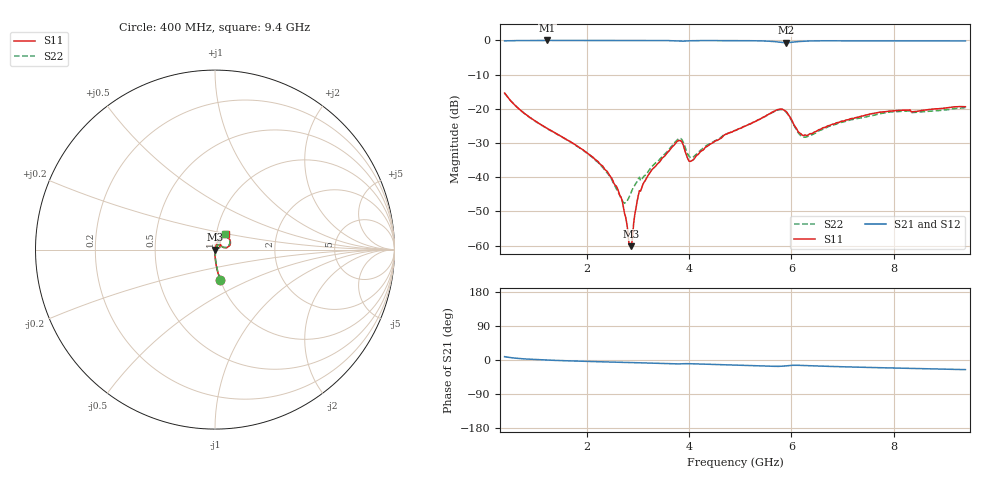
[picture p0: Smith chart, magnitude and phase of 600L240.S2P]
!  American Technical Ceramics  Date:  6/18/2004
!  One Norden Lane
!  Huntington Station,  NY.  11746-2102
!  Tel:  (631) 622-4700  Fax:  (631) 622-4748
!  Part Number  600L240  Mounting Orientation: Horizontal
!  Description: Ultra Low ESR Microwave capacitors
!  Application: Coupling, Bypass, Tuning, DC Block
!  Filters, Matching
# GHZ S DB R 50
! Freq  |S11|  S11 Ph  |S21|  S21 Ph  |S12|  S12 Ph  |S22|  S22 Ph
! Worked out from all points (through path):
!   401 points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, 400 MHz to 9.4 GHz, reference 50 ohm
!   highest |S21| = -0.02 dB at 1.233 GHz (marker M1); lowest = -0.7 dB at 5.89 GHz (marker M2)
!   group delay of S21, straight-line fit = 8.57 ps
!   lowest |S11| = -60.2 dB at 2.875 GHz (marker M3), VSWR 1.00, Z = 50.1 + j0.0469 ohm
!   |S11| at or under -10 dB: start of sweep to end of sweep
!   |S22| runs from -47.6 to -15.4 dB; largest |S21 - S12| = 0.0044
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0.4  -15.41 -80.3  -0.14 8.8  -0.14 8.7  -15.40 -80.1
1.233  -25.73 -88.5  -0.02 -0.2  -0.02 -0.3  -25.80 -87.0
1.908  -31.77 -90.1  -0.02 -3.3  -0.02 -3.3  -31.85 -85.4
2.268  -36.24 -89.6  -0.02 -4.6  -0.01 -4.7  -36.39 -79.5
2.538  -41.88 -86.8  -0.02 -5.6  -0.01 -5.7  -42.06 -66.4
2.65  -45.36 -80.5  -0.03 -6.0  -0.02 -6.1  -45.33 -48.3
2.74  -50.45 -76.4  -0.03 -6.4  -0.02 -6.4  -47.62 -15.5
2.83  -59.72 -40.5  -0.03 -6.7  -0.02 -6.7  -45.90 15.1
2.875  -60.18 28.6  -0.03 -6.8  -0.03 -6.9  -44.26 27.9
2.988  -47.11 88.2  -0.03 -7.2  -0.02 -7.3  -41.26 41.0
3.055  -44.09 78.8  -0.03 -7.4  -0.02 -7.5  -41.02 44.4
3.415  -35.72 74.3  -0.04 -8.7  -0.03 -8.9  -35.02 59.2
3.798  -29.31 50.2  -0.17 -10.3  -0.17 -10.4  -28.79 45.7
4.045  -35.26 50.7  -0.10 -9.9  -0.10 -10.0  -34.28 42.4
4.9  -26.35 69.5  -0.06 -13.2  -0.07 -13.3  -26.36 68.5
5.71  -20.37 45.8  -0.42 -16.8  -0.44 -16.8  -20.51 47.6
5.89  -20.68 21.9  -0.67 -15.4  -0.69 -15.4  -20.88 23.9
6.183  -27.24 22.6  -0.29 -14.2  -0.31 -14.0  -27.83 26.3
6.408  -27.25 48.2  -0.16 -15.3  -0.15 -15.2  -27.59 54.1
6.948  -23.88 61.4  -0.10 -17.7  -0.08 -17.7  -24.08 67.3
7.915  -20.70 58.1  -0.13 -20.9  -0.13 -21.0  -20.96 66.0
9.4  -19.40 53.8  -0.17 -25.4  -0.18 -25.5  -19.62 58.4
